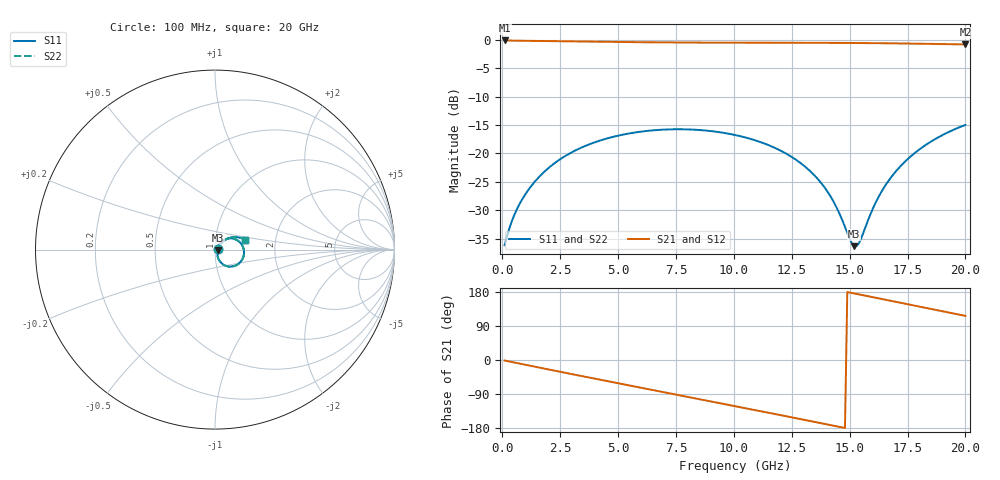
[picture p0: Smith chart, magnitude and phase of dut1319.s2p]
! Touchstone file exported from HFSS 2026.1.0
!  File:  C:/ffzhzh/LocalFiles/Ansys_Project_Files/temp_train_TSV_RDL_1319_1783336428_39728.aedt
!  Generated:  07:24:45 PM Jul  6, 2026
!  Design:  TSV_RDL
!  Project:  temp_train_TSV_RDL_1319_1783336428_39728
! Variables:
!  h_bsmrdl = 5.16um
!  h_ox = 20um
!  h_rdl = 5um
!  h_sub = 96.17um
!  h_tmrdl = 2.68um
!  h_tsv = 96.17um
!  h_via = 3um
!  l_bsmrdl = 781.42um
!  l_sub = 3619.92um
!  l_tmrdl = 185.78um
!  m_sub = 200um
!  pitch = 31.56um
!  r_tsv = 11.99um
!  s_tmrdl = 10um
!  w_bsmrdl = 17.06um
!  w_sub = 500um
!  w_tmrdl = 27.12um
!  x_tsv_center1 = 199.34um
!  x_tsv_center2 = 997.82um
!  x_tsv_center3 = 1210.72um
!  x_tsv_center4 = 2009.2um
!  x_tsv_center5 = 2222.1um
!  x_tsv_center6 = 3020.58um
# GHz S MA R 50.000000
! Terminal data exported
! Port[1] = TM_RDL1_1_T1
! Port[2] = TM_RDL5_1_T1
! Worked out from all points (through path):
!   200 points, 100 MHz to 20 GHz, reference 50 ohm
!   highest |S21| = -0.13 dB at 100 MHz (marker M1); lowest = -0.8 dB at 20 GHz (marker M2)
!   group delay of S21, straight-line fit = 33.7 ps
!   lowest |S11| = -36.3 dB at 15.2 GHz (marker M3), VSWR 1.03, Z = 51.5 - j0.51 ohm
!   |S11| at or under -10 dB: start of sweep to end of sweep
!   |S22| runs from -36.5 to -15.0 dB; largest |S21 - S12| = 4.3e-13
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0.1  0.01564 18.6  0.9853 -1.3  0.9853 -1.3  0.01564 18.6
! Gamma 0 0 0 0
! Port Impedance 50 0 50 0
0.3  0.02179 36.0  0.9832 -3.9  0.9832 -3.9  0.02179 36.0
0.6  0.03134 45.3  0.9808 -7.7  0.9808 -7.7  0.03134 45.3
1.3  0.0533 49.4  0.9767 -16.4  0.9767 -16.4  0.05331 49.4
2.3  0.08339 44.0  0.9711 -28.6  0.9711 -28.6  0.08339 44.0
3.5  0.1146 32.8  0.9639 -43.3  0.9639 -43.3  0.1146 32.8
5.2  0.1463 14.9  0.9544 -63.7  0.9544 -63.7  0.1464 14.8
6.8  0.1614 -2.5  0.9478 -82.8  0.9478 -82.8  0.1614 -2.5
8.4  0.1614 -19.8  0.9438 -101.9  0.9438 -101.9  0.1614 -19.8
10.1  0.1447 -37.9  0.9418 -122.3  0.9418 -122.3  0.1447 -38.0
12  0.1064 -57.0  0.941 -145.2  0.941 -145.2  0.1065 -57.2
13.4  0.06675 -68.0  0.9399 -162.3  0.9399 -162.3  0.0668 -68.3
13.9  0.05087 -69.5  0.9392 -168.4  0.9392 -168.4  0.05088 -69.9
14.3  0.0379 -67.9  0.9384 -173.3  0.9384 -173.3  0.03788 -68.4
15  0.01784 -41.2  0.9367 178.1  0.9367 178.1  0.0176 -42.1
15.2  0.01531 -18.9  0.9362 175.6  0.9362 175.6  0.01497 -19.5
15.4  0.01624 6.4  0.9355 173.1  0.9355 173.1  0.01585 6.4
16.1  0.03609 42.8  0.9329 164.5  0.9329 164.5  0.03582 43.3
16.7  0.05829 45.7  0.9301 157.1  0.9301 157.1  0.05808 46.0
17.3  0.08128 43.1  0.927 149.7  0.927 149.7  0.0811 43.3
18.1  0.1118 36.8  0.9221 139.8  0.9221 139.8  0.1116 37.0
20  0.1783 18.0  0.9089 116.5  0.9089 116.5  0.1782 18.1
